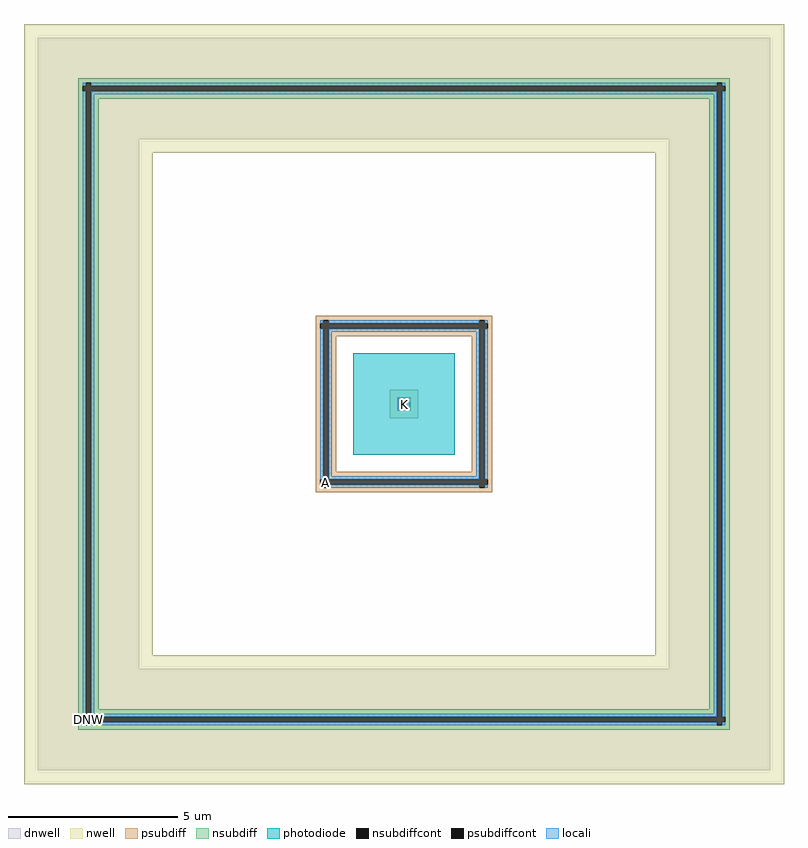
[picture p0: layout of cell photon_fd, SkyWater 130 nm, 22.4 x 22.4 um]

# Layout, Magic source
magic
tech sky130A
magscale 1 2
<< dnwell >>
rect -1860 1860 2460 2460
rect -1860 -1260 -1260 1860
rect 1860 -1260 2460 1860
rect -1860 -1860 2460 -1260
<< photodiode >>
rect 0 0 600 600
<< nwell >>
rect -1940 1780 2540 2540
rect -1940 -1180 -1180 1780
rect 216 216 384 384
rect 1780 -1180 2540 1780
rect -1940 -1940 2540 -1180
<< psubdiff >>
rect -220 793 820 820
rect -220 777 -177 793
rect -143 777 743 793
rect 777 777 820 793
rect -220 743 -193 777
rect 793 743 820 777
rect -220 -143 -177 743
rect -143 700 743 743
rect -143 -100 -100 700
rect 700 -100 743 700
rect -143 -143 743 -100
rect 777 -143 820 743
rect -220 -177 -193 -143
rect 793 -177 820 -143
rect -220 -193 -177 -177
rect -143 -193 743 -177
rect 777 -193 820 -177
rect -220 -220 820 -193
<< nsubdiff >>
rect -1620 2193 2220 2220
rect -1620 2177 -1577 2193
rect -1543 2177 2143 2193
rect 2177 2177 2220 2193
rect -1620 2143 -1593 2177
rect 2193 2143 2220 2177
rect -1620 -1543 -1577 2143
rect -1543 2100 2143 2143
rect -1543 -1500 -1500 2100
rect 259 317 341 341
rect 259 283 283 317
rect 317 283 341 317
rect 259 259 341 283
rect 2100 -1500 2143 2100
rect -1543 -1543 2143 -1500
rect 2177 -1543 2220 2143
rect -1620 -1577 -1593 -1543
rect 2193 -1577 2220 -1543
rect -1620 -1593 -1577 -1577
rect -1543 -1593 2143 -1577
rect 2177 -1593 2220 -1577
rect -1620 -1620 2220 -1593
<< psubdiffcont >>
rect -177 777 -143 793
rect 743 777 777 793
rect -193 743 793 777
rect -177 -143 -143 743
rect 743 -143 777 743
rect -193 -177 793 -143
rect -177 -193 -143 -177
rect 743 -193 777 -177
<< nsubdiffcont >>
rect -1577 2177 -1543 2193
rect 2143 2177 2177 2193
rect -1593 2143 2193 2177
rect -1577 -1543 -1543 2143
rect 283 283 317 317
rect 2143 -1543 2177 2143
rect -1593 -1577 2193 -1543
rect -1577 -1593 -1543 -1577
rect 2143 -1593 2177 -1577
<< locali >>
rect -1593 2177 -1577 2193
rect -1543 2177 2143 2193
rect 2177 2177 2193 2193
rect -1593 -1543 -1577 2143
rect -1543 2127 2143 2143
rect -1543 -1527 -1527 2127
rect -193 777 -177 793
rect -143 777 743 793
rect 777 777 793 793
rect -193 -143 -177 743
rect -143 727 743 743
rect -143 -127 -127 727
rect 267 317 333 333
rect 267 283 283 317
rect 317 283 333 317
rect 267 267 333 283
rect 727 -127 743 727
rect -143 -143 743 -127
rect 777 -143 793 743
rect -193 -193 -177 -177
rect -143 -193 743 -177
rect 777 -193 793 -177
rect 2127 -1527 2143 2127
rect -1543 -1543 2143 -1527
rect 2177 -1543 2193 2143
rect -1593 -1593 -1577 -1577
rect -1543 -1593 2143 -1577
rect 2177 -1593 2193 -1577
<< labels >>
rlabel locali -1593 -1593 -1527 -1527 0 DNW
port 1 nsew
rlabel locali 267 267 333 333 0 K
port 2 nsew
rlabel locali -193 -193 -127 -127 0 A
port 3 nsew
<< end >>
